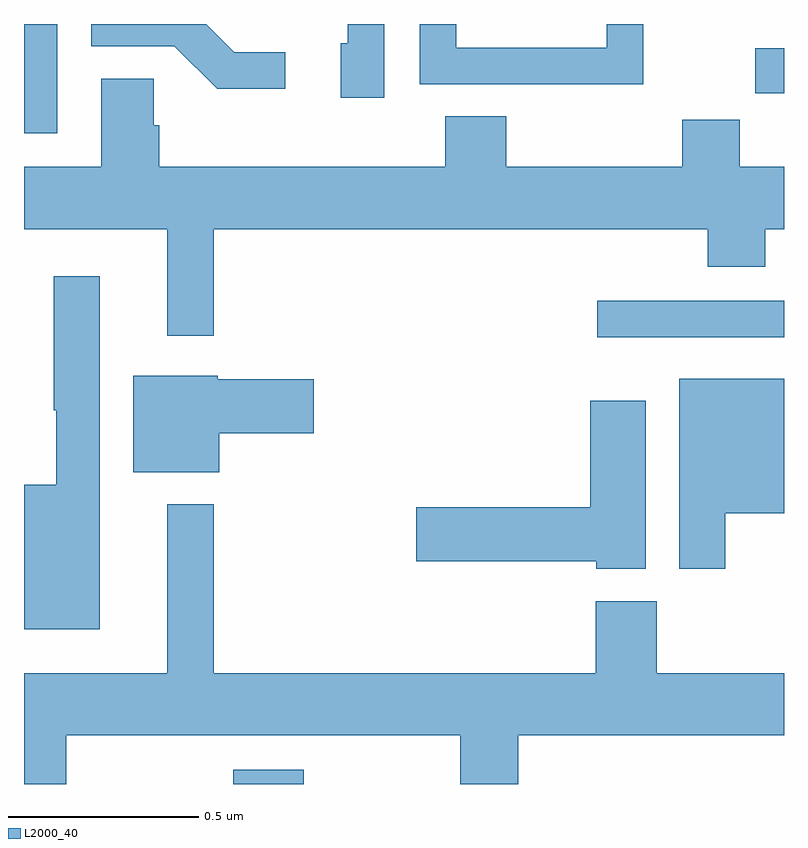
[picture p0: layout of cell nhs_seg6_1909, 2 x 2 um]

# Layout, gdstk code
import gdstk
lib = gdstk.Library(unit=1e-6, precision=1e-09)
def R(c, l, rs):  # rectangles x0, y0, x1, y1
    for r in rs: c.add(gdstk.rectangle(r[:2], r[2:], *l))
def P(c, l, *ps):  # polygons
    for p in ps: c.add(gdstk.Polygon(p, *l))
L2000_40 = (2000, 40)

nhs_seg6_1909 = lib.new_cell('nhs_seg6_1909')
R(nhs_seg6_1909, L2000_40, [(135.551,988.5,135.736,988.537), (136.509,989.676,137,989.772), (135,990.213,135.087,990.5), (136.924,990.318,137,990.436)])
P(nhs_seg6_1909, L2000_40, [(135.688,990.426),(135.553,990.426),(135.479,990.5),(135.177,990.5),(135.177,990.441),(135.396,990.441),(135.509,990.329),(135.688,990.329)],
  [(135.948,990.5),(135.852,990.5),(135.852,990.45),(135.833,990.45),(135.833,990.306),(135.948,990.306)],
  [(136.629,990.5),(136.533,990.5),(136.533,990.438),(136.137,990.438),(136.137,990.5),(136.041,990.5),(136.041,990.342),(136.357,990.342),(136.357,990.341),(136.629,990.341)],
  [(136.799,989.861),(136.951,989.861),(136.951,989.96),(137,989.96),(137,990.124),(136.883,990.124),(136.883,990.248),(136.732,990.248),(136.732,990.124),(136.269,990.124),(136.269,990.257),(136.109,990.257),(136.109,990.124),(135.356,990.124),(135.356,990.233),(135.342,990.233),(135.342,990.356),(135.203,990.356),(135.203,990.124),(135,990.124),(135,989.96),(135.377,989.96),(135.377,989.679),(135.499,989.679),(135.499,989.96),(136.799,989.96)],
  [(135.199,989.836),(135.078,989.836),(135.078,989.483),(135.085,989.483),(135.085,989.287),(135,989.287),(135,988.907),(135.199,988.907)],
  [(135.514,989.423),(135.763,989.423),(135.763,989.565),(135.51,989.565),(135.51,989.575),(135.287,989.575),(135.287,989.321),(135.514,989.321)],
  [(136.846,989.213),(137,989.213),(137,989.566),(136.724,989.566),(136.724,989.067),(136.846,989.067)],
  [(136.636,989.509),(136.49,989.509),(136.49,989.228),(136.032,989.228),(136.032,989.086),(136.506,989.086),(136.506,989.066),(136.636,989.066)],
  [(135.111,988.628),(136.148,988.628),(136.148,988.5),(136.301,988.5),(136.301,988.628),(137,988.628),(137,988.792),(136.665,988.792),(136.665,988.981),(136.505,988.981),(136.505,988.792),(135.499,988.792),(135.499,989.236),(135.377,989.236),(135.377,988.792),(135,988.792),(135,988.5),(135.111,988.5)])

lib.write_gds('nhs_seg6_1909.gds')
